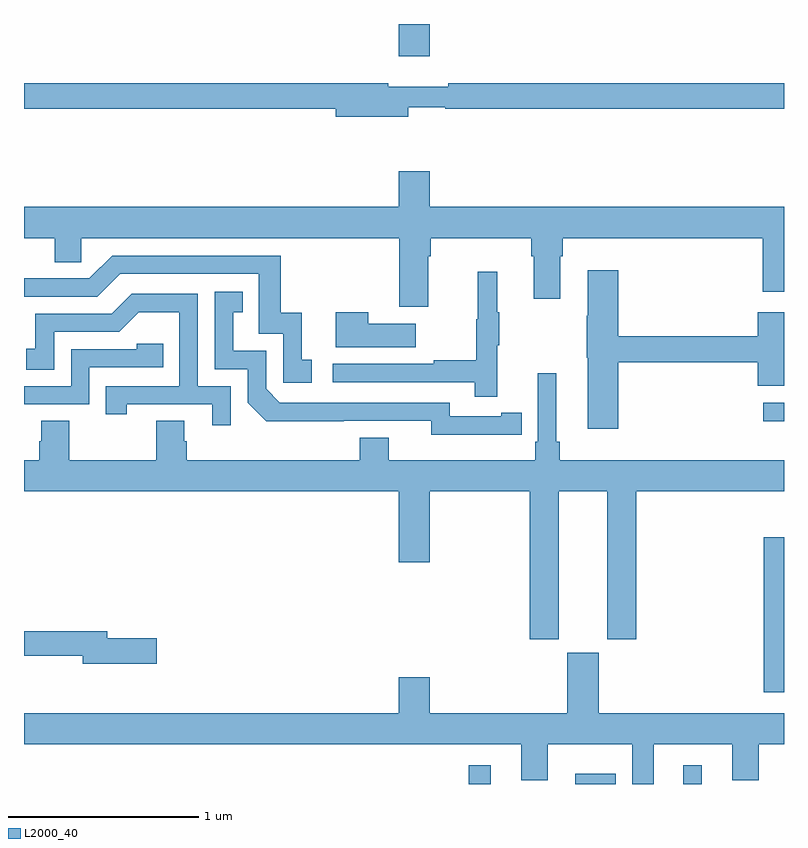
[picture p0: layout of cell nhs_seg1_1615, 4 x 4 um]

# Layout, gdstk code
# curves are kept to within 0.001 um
import gdstk
lib = gdstk.Library(unit=1e-6, precision=1e-09)
def R(c, l, rs):  # rectangles x0, y0, x1, y1
    for r in rs: c.add(gdstk.rectangle(r[:2], r[2:], *l))
def P(c, l, *ps):  # polygons
    for p in ps: c.add(gdstk.Polygon(p, *l))
L2000_40 = (2000, 40)

nhs_seg1_1615 = lib.new_cell('nhs_seg1_1615')
R(nhs_seg1_1615, L2000_40, [(201.34,542.199,201.456,542.299), (201.902,542.199,202.114,542.254), (202.47,542.199,202.566,542.299), (202.894,542.682,203,543.499), (202.89,544.109,203,544.206), (200.972,546.03,201.136,546.199)])
P(nhs_seg1_1615, L2000_40, [(201.022,545.76),(201.218,545.76),(201.218,545.752),(203,545.752),(203,545.888),(201.232,545.888),(201.232,545.869),(200.918,545.869),(200.918,545.888),(199,545.888),(199,545.752),(200.642,545.752),(200.642,545.71),(201.022,545.71)],
  [(201.136,545.425),(200.972,545.425),(200.972,545.236),(199,545.236),(199,545.072),(199.163,545.072),(199.163,544.945),(199.302,544.945),(199.302,545.072),(200.975,545.072),(200.975,544.71),(201.127,544.71),(201.127,544.976),(201.14,544.976),(201.14,545.072),(201.671,545.072),(201.671,544.976),(201.683,544.976),(201.683,544.752),(201.823,544.752),(201.823,544.976),(201.836,544.976),(201.836,545.072),(202.889,545.072),(202.889,544.791),(203,544.791),(203,545.236),(201.136,545.236)],
  [(200.515,544.431),(200.462,544.431),(200.462,544.678),(200.351,544.678),(200.351,544.98),(199.464,544.98),(199.344,544.86),(199,544.86),(199,544.764),(199.386,544.764),(199.506,544.884),(200.235,544.884),(200.235,544.569),(200.364,544.569),(200.364,544.311),(200.515,544.311)],
  [(202.127,544.42),(202.862,544.42),(202.862,544.295),(203,544.295),(203,544.681),(202.862,544.681),(202.862,544.556),(202.127,544.556),(202.127,544.903),(201.968,544.903),(201.968,544.664),(201.961,544.664),(201.961,544.443),(201.968,544.443),(201.968,544.068),(202.127,544.068)],
  [(201.491,544.507),(201.502,544.507),(201.502,544.681),(201.491,544.681),(201.491,544.894),(201.388,544.894),(201.388,544.644),(201.381,544.644),(201.381,544.43),(201.157,544.43),(201.157,544.41),(200.625,544.41),(200.625,544.314),(201.373,544.314),(201.373,544.236),(201.491,544.236)],
  [(201.512,544.038),(201.62,544.038),(201.62,544.154),(201.512,544.154),(201.512,544.134),(201.24,544.134),(201.24,544.206),(200.346,544.206),(200.274,544.278),(200.274,544.479),(200.101,544.479),(200.101,544.683),(200.15,544.683),(200.15,544.789),(200.004,544.789),(200.004,544.383),(200.178,544.383),(200.178,544.206),(200.276,544.109),(201.144,544.11),(201.144,544.037)],
  [(200.088,544.293),(199.914,544.293),(199.914,544.779),(199.568,544.779),(199.463,544.674),(199.06,544.674),(199.06,544.489),(199.011,544.489),(199.011,544.38),(199.158,544.38),(199.158,544.578),(199.5,544.578),(199.604,544.682),(199.818,544.682),(199.818,544.293),(199.429,544.293),(199.429,544.146),(199.54,544.146),(199.54,544.197),(199.991,544.197),(199.991,544.086),(200.088,544.086)],
  [(201.061,544.621),(200.813,544.621),(200.813,544.681),(200.642,544.681),(200.642,544.499),(201.061,544.499)],
  [(199.344,544.392),(199.733,544.392),(199.733,544.515),(199.593,544.515),(199.593,544.488),(199.248,544.488),(199.248,544.293),(199,544.293),(199,544.197),(199.344,544.197)],
  [(201.814,543.74),(202.07,543.74),(202.07,542.961),(202.223,542.961),(202.223,543.74),(203,543.74),(203,543.904),(201.821,543.904),(201.821,544),(201.802,544),(201.802,544.36),(201.705,544.36),(201.705,544),(201.692,544),(201.692,543.904),(200.92,543.904),(200.92,544.021),(200.768,544.021),(200.768,543.904),(199.856,543.904),(199.856,544.002),(199.843,544.002),(199.843,544.112),(199.696,544.112),(199.696,543.904),(199.239,543.904),(199.239,544.112),(199.091,544.112),(199.091,544.002),(199.079,544.002),(199.079,543.904),(199,543.904),(199,543.74),(200.972,543.74),(200.972,543.366),(201.136,543.366),(201.136,543.74),(201.662,543.74),(201.662,542.961),(201.814,542.961)],
  [(199.699,542.966),(199.438,542.966),(199.438,543.002),(199,543.002),(199,542.874),(199.31,542.874),(199.31,542.831),(199.699,542.831)],
  [(202.315,542.408),(202.727,542.408),(202.727,542.219),(202.867,542.219),(202.867,542.408),(203,542.408),(203,542.572),(202.024,542.572),(202.024,542.889),(201.86,542.889),(201.86,542.572),(201.136,542.572),(201.136,542.761),(200.972,542.761),(200.972,542.572),(199,542.572),(199,542.408),(201.617,542.408),(201.617,542.219),(201.757,542.219),(201.757,542.408),(202.202,542.408),(202.202,542.199),(202.315,542.199)])

lib.write_gds('nhs_seg1_1615.gds')
